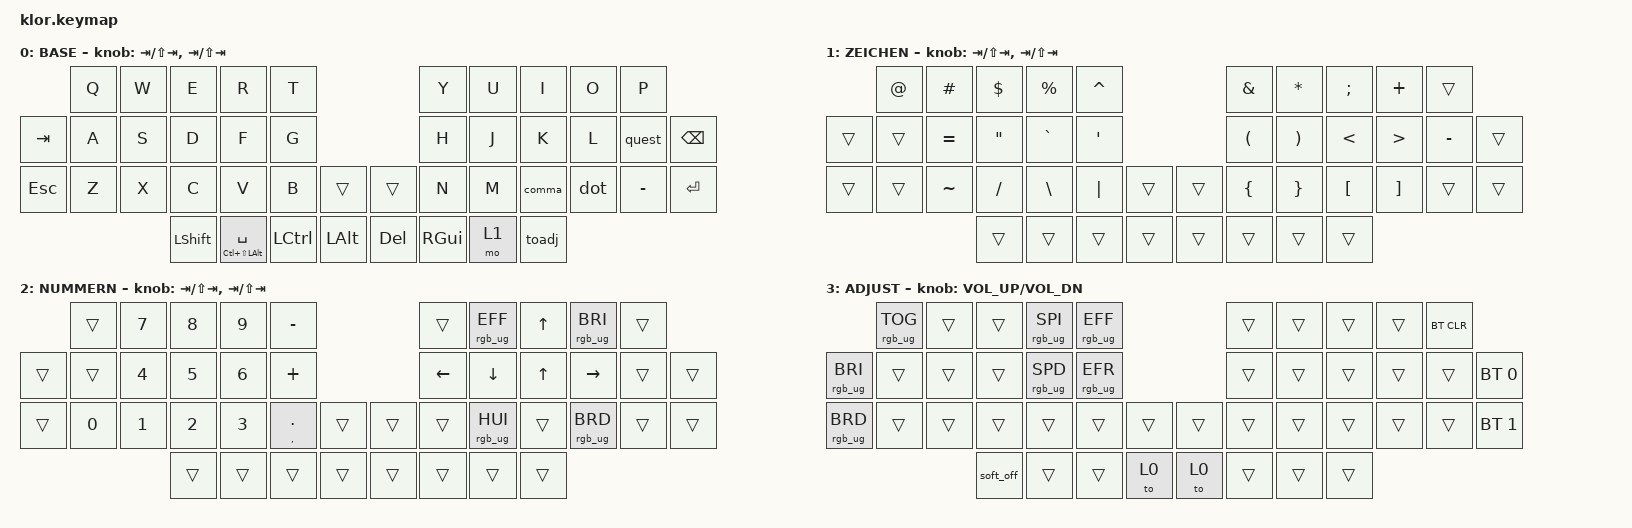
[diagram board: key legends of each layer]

//                               █         █    █            ▄▄▄▀▀▀▀▀▀▄▄▄        █▀▀▀▀▀▀▀▀▀▀█
//                               █        █     █          ▄▀            ▀▄      █          █
//                               █       █      █        ▄▀                ▀▄    █          █
//                               █      █       █        █                  █    █          █
//                               █     █        █       █                    █   █          █
//                               █    █         █       █                    █   █▄▄▄▄▄▄▄▄▄▄█
//                               █   █ █        █       █                    █   █      █
//                               █  █   █       █        █                  █    █       █
//                               █ █     █      █        ▀▄                ▄▀    █        █
//                               ██       █     █          ▀▄            ▄▀      █         █
//                               █         █    █▄▄▄▄▄▄▄▄    ▀▀▀▄▄▄▄▄▄▀▀▀        █          █
//
// ▄▄▄▄▄▄▄▄▄▄▄▄▄▄▄▄▄▄▄▄▄▄▄▄▄▄▄▄▄▄▄▄▄▄▄▄▄▄▄▄▄▄▄▄▄▄▄▄▄▄▄▄▄▄▄▄▄▄▄▄▄▄▄▄▄▄▄▄▄▄▄▄▄▄▄▄▄▄▄▄▄▄▄▄▄▄▄▄▄▄▄▄▄▄▄▄▄▄▄▄▄▄▄▄▄▄▄▄▄▄▄▄▄▄▄▄▄▄▄▄▄▄▄▄▄
       
#include <behaviors.dtsi>
#include <dt-bindings/zmk/keys.h>
#include <dt-bindings/zmk/bt.h>
#include <dt-bindings/zmk/outputs.h>
#include <dt-bindings/zmk/ext_power.h>
#include <dt-bindings/zmk/rgb.h>


#define BASE   0
#define LOWER  1
#define RAISE  2
#define ADJUST 3

&soft_off {
    hold-time-ms = <5000>; // Only turn off it the key is held for 5 seconds or longer.
};

/ {
    behaviors {
               hm: homerow_mods {
            compatible = "zmk,behavior-hold-tap";
            label = "HOMEROW_MODS";
            #binding-cells = <2>;
            tapping-term-ms = <320>;
            quick-tap-ms = <0>;
            flavor = "tap-preferred";
            bindings = <&kp>, <&kp>;
        };
       comma: comma_semi {
            compatible = "zmk,behavior-mod-morph";
            label = "comma_semi";
            #binding-cells = <0>;
            bindings = <&kp COMMA>, <&kp SEMI>;
            mods = <(MOD_LSFT)>;
        };

        dot: dot_colon {
            compatible = "zmk,behavior-mod-morph";
            label = "dot_colon";
            #binding-cells = <0>;
            bindings = <&kp DOT>, <&kp COLON>;
            mods = <(MOD_LSFT)>;
        };

        quest: question_excl {
            compatible = "zmk,behavior-mod-morph";
            label = "question_excl";
            #binding-cells = <0>;
            bindings = <&kp QUESTION>, <&kp EXCL>;
            mods = <(MOD_LSFT)>;
        };

        ctlalt: control_alt {
            compatible = "zmk,behavior-mod-morph";
            label = "control_alt";
            #binding-cells = <0>;
            bindings = <&kp LEFT_CONTROL>, <&kp LEFT_ALT>;
            mods = <(MOD_RGUI)>;
        };

        toadj: toadj {
            compatible = "zmk,behavior-mod-morph";
            label = "toadj";
            #binding-cells = <0>;
            bindings = <&mo 2>, <&to 3>;
            mods = <(MOD_LALT)>;
        };

    };

     combos {
            compatible = "zmk,combos";
            combo_esc {
                timeout-ms = <50>;
                key-positions = <0 1>;
                bindings = <&kp ESC>;
            };
        
    };

        keymap {
                compatible = "zmk,keymap";
// ▄▄▄▄▄▄▄▄▄▄▄▄▄▄▄▄▄▄▄▄▄▄▄▄▄▄▄▄▄▄▄▄▄▄▄▄▄▄▄▄▄▄▄▄▄▄▄▄▄▄▄▄▄▄▄▄▄▄▄▄▄▄▄▄▄▄▄▄▄▄▄▄▄▄▄▄▄▄▄▄▄▄▄▄▄▄▄▄▄▄▄▄▄▄▄▄▄▄▄▄▄▄▄▄▄▄▄▄▄▄▄▄▄▄▄▄▄▄▄▄▄▄▄▄▄▄▄▄▄▄▄▄▄▄▄▄▄▄▄▄▄▄


                base_layer {
// ┌───────────────────────────────────────────────────────────┐
label= "BASE"                                                  ;
// └───────────────────────────────────────────────────────────┘

 bindings = <
 //╷         ╷         ╷         ╷         ╷                       ╷                       ╷           ╷╷         ╷            ╷             ╷         ╷          ╷          ╷         ╷
              &kp Q     &kp W     &kp E     &kp R                   &kp T                                          &kp Y        &kp U         &kp I     &kp O      &kp P
    &kp TAB   &kp A     &kp S     &kp D     &kp F                   &kp G                                          &kp H        &kp J         &kp K     &kp L      &quest     &kp BSPC
    &kp ESC   &kp Z     &kp X     &kp C     &kp V                   &kp B                   &trans       &trans    &kp N        &kp M         &comma    &dot       &kp MINUS  &kp RET
                                  &kp LSHFT &hm LC(LS(LALT)) SPACE  &kp LCTRL               &kp LALT     &kp DEL   &kp RGUI     &mo 1         &toadj     
                        >;
            sensor-bindings = <&inc_dec_kp TAB LS(TAB) &inc_dec_kp TAB LS(TAB)>;
                };

// ▄▄▄▄▄▄▄▄▄▄▄▄▄▄▄▄▄▄▄▄▄▄▄▄▄▄▄▄▄▄▄▄▄▄▄▄▄▄▄▄▄▄▄▄▄▄▄▄▄▄▄▄▄▄▄▄▄▄▄▄▄▄▄▄▄▄▄▄▄▄▄▄▄▄▄▄▄▄▄▄▄▄▄▄▄▄▄▄▄▄▄▄▄▄▄▄▄▄▄▄▄▄▄▄▄▄▄▄▄▄▄▄▄▄▄▄▄▄▄▄▄▄▄▄▄▄▄▄▄▄▄▄▄▄▄▄▄▄▄▄▄▄


                signs_layer {
// ┌───────────────────────────────────────────────────────────┐
label= "ZEICHEN"                                                 ;
// └───────────────────────────────────────────────────────────┘

 bindings = <
 //╷        ╷            ╷          ╷           ╷             ╷            ╷        ╷╷         ╷         ╷         ╷         ╷         ╷         ╷         ╷
             &kp AT_SIGN  &kp HASH   &kp DOLLAR  &kp PERCENT   &kp CARET                        &kp AMPS  &kp STAR  &kp SEMI  &kp PLUS  &trans
    &trans   &trans       &kp EQUAL  &kp DQT     &kp GRAVE     &kp SQT                          &kp LPAR  &kp RPAR  &kp LT    &kp GT    &kp MINUS &trans
    &trans   &trans       &kp TILDE  &kp SLASH   &kp BSLH      &kp PIPE     &trans    &trans    &kp LBRC  &kp RBRC  &kp LBKT  &kp RBKT  &trans    &trans
                                     &trans      &trans        &trans       &trans    &trans    &trans    &trans    &trans  
                        >;
            sensor-bindings = <&inc_dec_kp TAB LS(TAB) &inc_dec_kp TAB LS(TAB)>;
                };

// ▄▄▄▄▄▄▄▄▄▄▄▄▄▄▄▄▄▄▄▄▄▄▄▄▄▄▄▄▄▄▄▄▄▄▄▄▄▄▄▄▄▄▄▄▄▄▄▄▄▄▄▄▄▄▄▄▄▄▄▄▄▄▄▄▄▄▄▄▄▄▄▄▄▄▄▄▄▄▄▄▄▄▄▄▄▄▄▄▄▄▄▄▄▄▄▄▄▄▄▄▄▄▄▄▄▄▄▄▄▄▄▄▄▄▄▄▄▄▄▄▄▄▄▄▄


                num_layer {
// ┌───────────────────────────────────────────────────────────┐
label= "NUMMERN"                                                 ;
// └───────────────────────────────────────────────────────────┘

 bindings = <
 //╷         ╷       ╷       ╷       ╷       ╷              ╷         ╷╷         ╷         ╷                 ╷       ╷                ╷         ╷         ╷
              &trans  &kp N7  &kp N8  &kp N9  &kp MINUS                           &trans    &rgb_ug RGB_EFF   &kp UP  &rgb_ug RGB_BRI  &trans         
    &trans    &trans  &kp N4  &kp N5  &kp N6  &kp PLUS                            &kp LEFT  &kp DOWN          &kp UP  &kp RIGHT        &trans    &trans  
    &trans    &kp N0  &kp N1  &kp N2  &kp N3  &mt COMMA DOT  &trans     &trans    &trans    &rgb_ug RGB_HUI   &trans  &rgb_ug RGB_BRD  &trans    &trans
                              &trans  &trans  &trans         &trans     &trans    &trans    &trans            &trans  
                        >;
            sensor-bindings = <&inc_dec_kp TAB LS(TAB) &inc_dec_kp TAB LS(TAB)>;
                };

// ▄▄▄▄▄▄▄▄▄▄▄▄▄▄▄▄▄▄▄▄▄▄▄▄▄▄▄▄▄▄▄▄▄▄▄▄▄▄▄▄▄▄▄▄▄▄▄▄▄▄▄▄▄▄▄▄▄▄▄▄▄▄▄▄▄▄▄▄▄▄▄▄▄▄▄▄▄▄▄▄▄▄▄▄▄▄▄▄▄▄▄▄▄▄▄▄▄▄▄▄▄▄▄▄▄▄▄▄▄▄▄▄▄▄▄▄▄▄▄▄▄▄▄▄▄


                adjust_layer {
// ┌───────────────────────────────────────────────────────────┐
label= "ADJUST"                                                ;
// └───────────────────────────────────────────────────────────┘
/*           ┌─────────┬─────────┬─────────┬─────────┬─────────┐                    ┌─────────┬─────────┬─────────┬─────────┬─────────┐
             │         │         │         │         │         │                    │         │         │         │         │         │
   ┌─────────┼─────────┼─────────┼─────────┼─────────┼─────────┤                    ├─────────┼─────────┼─────────┼─────────┼─────────┼─────────┐
   │         │         │         │         │         │         │                    │         │         │         │         │         │         │
   ├─────────┼─────────┼─────────┼─────────┼─────────┼─────────┤╭────────╮╭────────╮├─────────┼─────────┼─────────┼─────────┼─────────┼─────────┤
   │         │         │         │         │         │         ││        ││        ││         │         │         │         │         │         │
   └─────────┴─────────┴─────────┼─────────┼─────────┼─────────┼╰────────╯╰────────╯┼─────────┼─────────┼─────────┼─────────┴─────────┴─────────┘
                                 │         │         │         │         ││         │         │         │         │  
                                 └─────────┴─────────┴─────────┴─────────┘└─────────┴─────────┴─────────┴─────────┘ */ 
 bindings = <
 //╷                 ╷                   ╷         ╷          ╷                  ╷                  ╷         ╷╷         ╷         ╷         ╷         ╷         ╷         ╷         ╷
                      &rgb_ug RGB_TOG     &trans    &trans     &rgb_ug RGB_SPI    &rgb_ug RGB_EFF                         &trans    &trans    &trans    &trans    &bt BT_CLR   
    &rgb_ug RGB_BRI   &trans              &trans    &trans     &rgb_ug RGB_SPD    &rgb_ug RGB_EFR                         &trans    &trans    &trans    &trans    &trans   &bt BT_SEL 0 
    &rgb_ug RGB_BRD   &trans              &trans    &trans     &trans             &trans             &trans     &trans    &trans    &trans    &trans    &trans    &trans   &bt BT_SEL 1    
                                                    &soft_off  &trans             &trans             &to 0      &to 0     &trans    &trans    &trans    
                        >;
            sensor-bindings = <&inc_dec_kp C_VOL_UP C_VOL_DN>;
                };
        };
};
